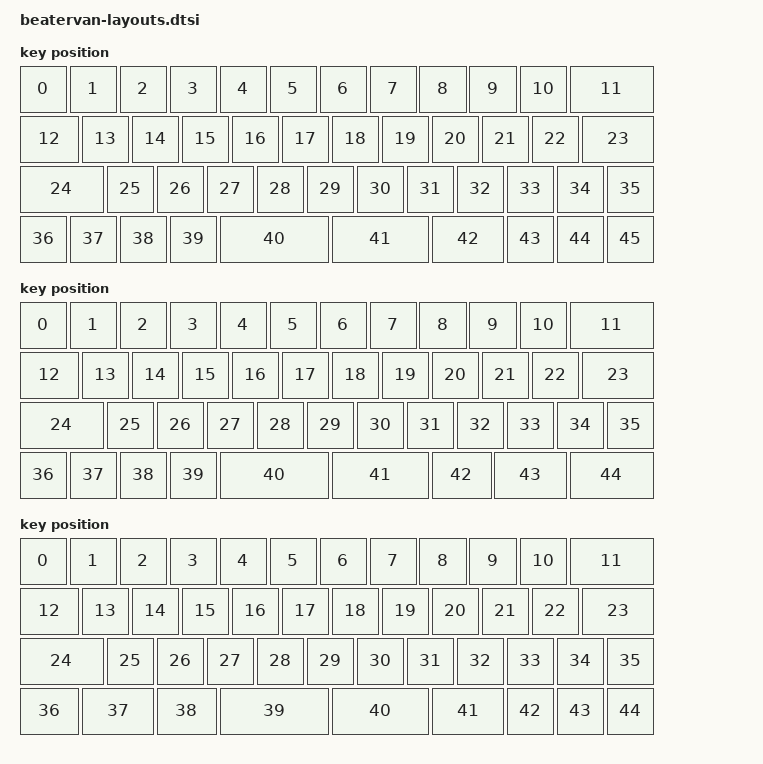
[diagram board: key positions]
/*
 * Copyright (c) 2024 The ZMK Contributors
 *
 * SPDX-License-Identifier: MIT
 */

#include <physical_layouts.dtsi>

/ {
    chosen {
        zmk,physical-layout = &arrows_southpaw_layout;
    };

    arrows_southpaw_layout: physical_layout_0 {
        compatible = "zmk,physical-layout";
        display-name = "Arrows + Southpaw";

        transform = <&arrows_southpaw_transform>;

        keys  //                     w   h    x    y     rot    rx    ry
            = <&key_physical_attrs 100 100    0    0       0     0     0>
            , <&key_physical_attrs 100 100  100    0       0     0     0>
            , <&key_physical_attrs 100 100  200    0       0     0     0>
            , <&key_physical_attrs 100 100  300    0       0     0     0>
            , <&key_physical_attrs 100 100  400    0       0     0     0>
            , <&key_physical_attrs 100 100  500    0       0     0     0>
            , <&key_physical_attrs 100 100  600    0       0     0     0>
            , <&key_physical_attrs 100 100  700    0       0     0     0>
            , <&key_physical_attrs 100 100  800    0       0     0     0>
            , <&key_physical_attrs 100 100  900    0       0     0     0>
            , <&key_physical_attrs 100 100 1000    0       0     0     0>
            , <&key_physical_attrs 175 100 1100    0       0     0     0>
            , <&key_physical_attrs 125 100    0  100       0     0     0>
            , <&key_physical_attrs 100 100  125  100       0     0     0>
            , <&key_physical_attrs 100 100  225  100       0     0     0>
            , <&key_physical_attrs 100 100  325  100       0     0     0>
            , <&key_physical_attrs 100 100  425  100       0     0     0>
            , <&key_physical_attrs 100 100  525  100       0     0     0>
            , <&key_physical_attrs 100 100  625  100       0     0     0>
            , <&key_physical_attrs 100 100  725  100       0     0     0>
            , <&key_physical_attrs 100 100  825  100       0     0     0>
            , <&key_physical_attrs 100 100  925  100       0     0     0>
            , <&key_physical_attrs 100 100 1025  100       0     0     0>
            , <&key_physical_attrs 150 100 1125  100       0     0     0>
            , <&key_physical_attrs 175 100    0  200       0     0     0>
            , <&key_physical_attrs 100 100  175  200       0     0     0>
            , <&key_physical_attrs 100 100  275  200       0     0     0>
            , <&key_physical_attrs 100 100  375  200       0     0     0>
            , <&key_physical_attrs 100 100  475  200       0     0     0>
            , <&key_physical_attrs 100 100  575  200       0     0     0>
            , <&key_physical_attrs 100 100  675  200       0     0     0>
            , <&key_physical_attrs 100 100  775  200       0     0     0>
            , <&key_physical_attrs 100 100  875  200       0     0     0>
            , <&key_physical_attrs 100 100  975  200       0     0     0>
            , <&key_physical_attrs 100 100 1075  200       0     0     0>
            , <&key_physical_attrs 100 100 1175  200       0     0     0>
            , <&key_physical_attrs 100 100    0  300       0     0     0>
            , <&key_physical_attrs 100 100  100  300       0     0     0>
            , <&key_physical_attrs 100 100  200  300       0     0     0>
            , <&key_physical_attrs 100 100  300  300       0     0     0>
            , <&key_physical_attrs 225 100  400  300       0     0     0>
            , <&key_physical_attrs 200 100  625  300       0     0     0>
            , <&key_physical_attrs 150 100  825  300       0     0     0>
            , <&key_physical_attrs 100 100  975  300       0     0     0>
            , <&key_physical_attrs 100 100 1075  300       0     0     0>
            , <&key_physical_attrs 100 100 1175  300       0     0     0>
            ;
    };

    standard_layout: physical_layout_1 {
        compatible = "zmk,physical-layout";
        display-name = "Standard";

        transform = <&standard_transform>;

        keys  //                     w   h    x    y     rot    rx    ry
            = <&key_physical_attrs 100 100    0    0       0     0     0>
            , <&key_physical_attrs 100 100  100    0       0     0     0>
            , <&key_physical_attrs 100 100  200    0       0     0     0>
            , <&key_physical_attrs 100 100  300    0       0     0     0>
            , <&key_physical_attrs 100 100  400    0       0     0     0>
            , <&key_physical_attrs 100 100  500    0       0     0     0>
            , <&key_physical_attrs 100 100  600    0       0     0     0>
            , <&key_physical_attrs 100 100  700    0       0     0     0>
            , <&key_physical_attrs 100 100  800    0       0     0     0>
            , <&key_physical_attrs 100 100  900    0       0     0     0>
            , <&key_physical_attrs 100 100 1000    0       0     0     0>
            , <&key_physical_attrs 175 100 1100    0       0     0     0>
            , <&key_physical_attrs 125 100    0  100       0     0     0>
            , <&key_physical_attrs 100 100  125  100       0     0     0>
            , <&key_physical_attrs 100 100  225  100       0     0     0>
            , <&key_physical_attrs 100 100  325  100       0     0     0>
            , <&key_physical_attrs 100 100  425  100       0     0     0>
            , <&key_physical_attrs 100 100  525  100       0     0     0>
            , <&key_physical_attrs 100 100  625  100       0     0     0>
            , <&key_physical_attrs 100 100  725  100       0     0     0>
            , <&key_physical_attrs 100 100  825  100       0     0     0>
            , <&key_physical_attrs 100 100  925  100       0     0     0>
            , <&key_physical_attrs 100 100 1025  100       0     0     0>
            , <&key_physical_attrs 150 100 1125  100       0     0     0>
            , <&key_physical_attrs 175 100    0  200       0     0     0>
            , <&key_physical_attrs 100 100  175  200       0     0     0>
            , <&key_physical_attrs 100 100  275  200       0     0     0>
            , <&key_physical_attrs 100 100  375  200       0     0     0>
            , <&key_physical_attrs 100 100  475  200       0     0     0>
            , <&key_physical_attrs 100 100  575  200       0     0     0>
            , <&key_physical_attrs 100 100  675  200       0     0     0>
            , <&key_physical_attrs 100 100  775  200       0     0     0>
            , <&key_physical_attrs 100 100  875  200       0     0     0>
            , <&key_physical_attrs 100 100  975  200       0     0     0>
            , <&key_physical_attrs 100 100 1075  200       0     0     0>
            , <&key_physical_attrs 100 100 1175  200       0     0     0>
            , <&key_physical_attrs 100 100    0  300       0     0     0>
            , <&key_physical_attrs 100 100  100  300       0     0     0>
            , <&key_physical_attrs 100 100  200  300       0     0     0>
            , <&key_physical_attrs 100 100  300  300       0     0     0>
            , <&key_physical_attrs 225 100  400  300       0     0     0>
            , <&key_physical_attrs 200 100  625  300       0     0     0>
            , <&key_physical_attrs 125 100  825  300       0     0     0>
            , <&key_physical_attrs 150 100  950  300       0     0     0>
            , <&key_physical_attrs 175 100 1100  300       0     0     0>
            ;
    };

    arrows_layout: physical_layout_2 {
        compatible = "zmk,physical-layout";
        display-name = "Arrows";

        transform = <&arrows_transform>;

        keys  //                     w   h    x    y     rot    rx    ry
            = <&key_physical_attrs 100 100    0    0       0     0     0>
            , <&key_physical_attrs 100 100  100    0       0     0     0>
            , <&key_physical_attrs 100 100  200    0       0     0     0>
            , <&key_physical_attrs 100 100  300    0       0     0     0>
            , <&key_physical_attrs 100 100  400    0       0     0     0>
            , <&key_physical_attrs 100 100  500    0       0     0     0>
            , <&key_physical_attrs 100 100  600    0       0     0     0>
            , <&key_physical_attrs 100 100  700    0       0     0     0>
            , <&key_physical_attrs 100 100  800    0       0     0     0>
            , <&key_physical_attrs 100 100  900    0       0     0     0>
            , <&key_physical_attrs 100 100 1000    0       0     0     0>
            , <&key_physical_attrs 175 100 1100    0       0     0     0>
            , <&key_physical_attrs 125 100    0  100       0     0     0>
            , <&key_physical_attrs 100 100  125  100       0     0     0>
            , <&key_physical_attrs 100 100  225  100       0     0     0>
            , <&key_physical_attrs 100 100  325  100       0     0     0>
            , <&key_physical_attrs 100 100  425  100       0     0     0>
            , <&key_physical_attrs 100 100  525  100       0     0     0>
            , <&key_physical_attrs 100 100  625  100       0     0     0>
            , <&key_physical_attrs 100 100  725  100       0     0     0>
            , <&key_physical_attrs 100 100  825  100       0     0     0>
            , <&key_physical_attrs 100 100  925  100       0     0     0>
            , <&key_physical_attrs 100 100 1025  100       0     0     0>
            , <&key_physical_attrs 150 100 1125  100       0     0     0>
            , <&key_physical_attrs 175 100    0  200       0     0     0>
            , <&key_physical_attrs 100 100  175  200       0     0     0>
            , <&key_physical_attrs 100 100  275  200       0     0     0>
            , <&key_physical_attrs 100 100  375  200       0     0     0>
            , <&key_physical_attrs 100 100  475  200       0     0     0>
            , <&key_physical_attrs 100 100  575  200       0     0     0>
            , <&key_physical_attrs 100 100  675  200       0     0     0>
            , <&key_physical_attrs 100 100  775  200       0     0     0>
            , <&key_physical_attrs 100 100  875  200       0     0     0>
            , <&key_physical_attrs 100 100  975  200       0     0     0>
            , <&key_physical_attrs 100 100 1075  200       0     0     0>
            , <&key_physical_attrs 100 100 1175  200       0     0     0>
            , <&key_physical_attrs 125 100    0  300       0     0     0>
            , <&key_physical_attrs 150 100  125  300       0     0     0>
            , <&key_physical_attrs 125 100  275  300       0     0     0>
            , <&key_physical_attrs 225 100  400  300       0     0     0>
            , <&key_physical_attrs 200 100  625  300       0     0     0>
            , <&key_physical_attrs 150 100  825  300       0     0     0>
            , <&key_physical_attrs 100 100  975  300       0     0     0>
            , <&key_physical_attrs 100 100 1075  300       0     0     0>
            , <&key_physical_attrs 100 100 1175  300       0     0     0>
            ;
    };

    southpaw_layout: physical_layout_3 {
        compatible = "zmk,physical-layout";
        display-name = "Southpaw";

        transform = <&southpaw_transform>;

        keys  //                     w   h    x    y     rot    rx    ry
            = <&key_physical_attrs 100 100    0    0       0     0     0>
            , <&key_physical_attrs 100 100  100    0       0     0     0>
            , <&key_physical_attrs 100 100  200    0       0     0     0>
            , <&key_physical_attrs 100 100  300    0       0     0     0>
            , <&key_physical_attrs 100 100  400    0       0     0     0>
            , <&key_physical_attrs 100 100  500    0       0     0     0>
            , <&key_physical_attrs 100 100  600    0       0     0     0>
            , <&key_physical_attrs 100 100  700    0       0     0     0>
            , <&key_physical_attrs 100 100  800    0       0     0     0>
            , <&key_physical_attrs 100 100  900    0       0     0     0>
            , <&key_physical_attrs 100 100 1000    0       0     0     0>
            , <&key_physical_attrs 175 100 1100    0       0     0     0>
            , <&key_physical_attrs 125 100    0  100       0     0     0>
            , <&key_physical_attrs 100 100  125  100       0     0     0>
            , <&key_physical_attrs 100 100  225  100       0     0     0>
            , <&key_physical_attrs 100 100  325  100       0     0     0>
            , <&key_physical_attrs 100 100  425  100       0     0     0>
            , <&key_physical_attrs 100 100  525  100       0     0     0>
            , <&key_physical_attrs 100 100  625  100       0     0     0>
            , <&key_physical_attrs 100 100  725  100       0     0     0>
            , <&key_physical_attrs 100 100  825  100       0     0     0>
            , <&key_physical_attrs 100 100  925  100       0     0     0>
            , <&key_physical_attrs 100 100 1025  100       0     0     0>
            , <&key_physical_attrs 150 100 1125  100       0     0     0>
            , <&key_physical_attrs 175 100    0  200       0     0     0>
            , <&key_physical_attrs 100 100  175  200       0     0     0>
            , <&key_physical_attrs 100 100  275  200       0     0     0>
            , <&key_physical_attrs 100 100  375  200       0     0     0>
            , <&key_physical_attrs 100 100  475  200       0     0     0>
            , <&key_physical_attrs 100 100  575  200       0     0     0>
            , <&key_physical_attrs 100 100  675  200       0     0     0>
            , <&key_physical_attrs 100 100  775  200       0     0     0>
            , <&key_physical_attrs 100 100  875  200       0     0     0>
            , <&key_physical_attrs 100 100  975  200       0     0     0>
            , <&key_physical_attrs 100 100 1075  200       0     0     0>
            , <&key_physical_attrs 100 100 1175  200       0     0     0>
            , <&key_physical_attrs 125 100    0  300       0     0     0>
            , <&key_physical_attrs 150 100  125  300       0     0     0>
            , <&key_physical_attrs 125 100  275  300       0     0     0>
            , <&key_physical_attrs 225 100  400  300       0     0     0>
            , <&key_physical_attrs 200 100  625  300       0     0     0>
            , <&key_physical_attrs 125 100  825  300       0     0     0>
            , <&key_physical_attrs 150 100  950  300       0     0     0>
            , <&key_physical_attrs 175 100 1100  300       0     0     0>
            ;
    };

    position_map {
        compatible = "zmk,physical-layout-position-map";

        arrows_southpaw_layout {
            physical-layout = <&arrows_southpaw_layout>;
            positions = <38 44>;
        };

        standard_layout {
            physical-layout = <&standard_layout>;
            positions = <38 45>;
        };

        arrows_layout {
            physical-layout = <&arrows_layout>;
            positions = <45 43>;
        };

        southpaw_layout {
            physical-layout = <&southpaw_layout>;
            positions = <44 45>;
        };
    };
};
